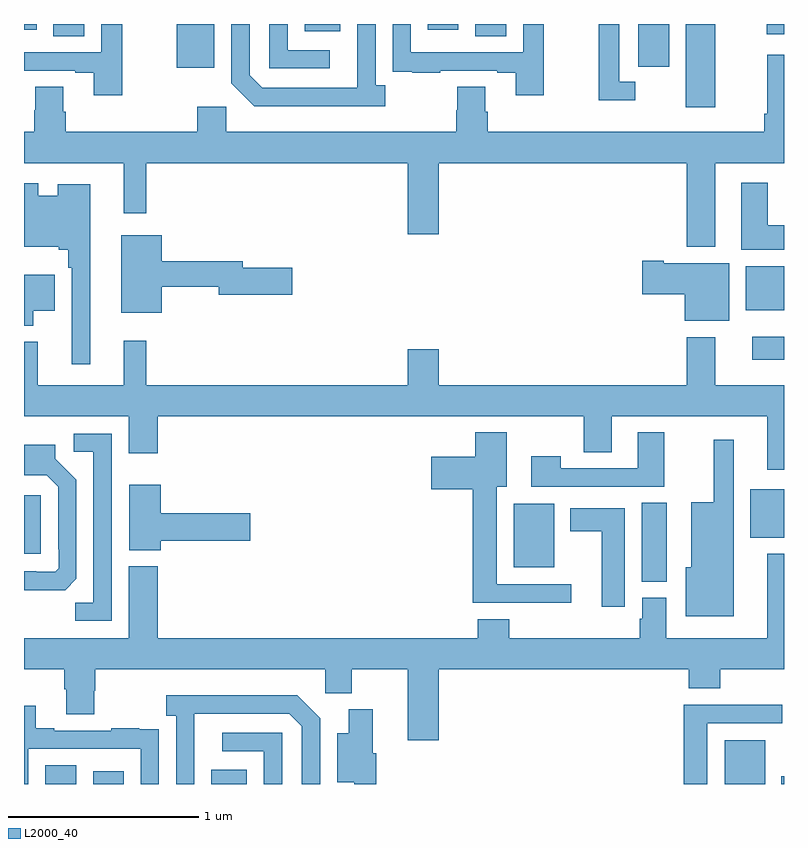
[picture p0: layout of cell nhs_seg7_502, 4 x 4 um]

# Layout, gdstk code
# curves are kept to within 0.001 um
import gdstk
lib = gdstk.Library(unit=1e-6, precision=1e-09)
def R(c, l, rs):  # rectangles x0, y0, x1, y1
    for r in rs: c.add(gdstk.rectangle(r[:2], r[2:], *l))
def P(c, l, *ps):  # polygons
    for p in ps: c.add(gdstk.Polygon(p, *l))
L2000_40 = (2000, 40)

nhs_seg7_502 = lib.new_cell('nhs_seg7_502')
R(nhs_seg7_502, L2000_40, [(151.112,1012,151.276,1012.1), (151.364,1012,151.525,1012.066), (151.985,1012,152.173,1012.075), (154.688,1012,154.9,1012.231), (154.985,1012,155,1012.042), (154.25,1013.065,154.384,1013.48), (153.578,1013.141,153.79,1013.476), (151,1013.211,151.089,1013.521), (154.823,1013.297,155,1013.551), (154.833,1014.233,155,1014.355), (154.799,1014.494,155,1014.724), (154.484,1015.563,154.639,1016), (151.803,1015.769,152.002,1016), (154.232,1015.776,154.396,1016), (151.154,1015.936,151.318,1016), (153.374,1015.936,153.538,1016), (154.91,1015.947,155,1016), (152.477,1015.961,152.665,1016), (151,1015.971,151.066,1016), (153.125,1015.971,153.286,1016)])
P(nhs_seg7_502, L2000_40, [(152.902,1015.678),(152.85,1015.678),(152.85,1016),(152.754,1016),(152.753,1015.665),(152.253,1015.665),(152.187,1015.731),(152.187,1016),(152.091,1016),(152.091,1015.689),(152.212,1015.568),(152.902,1015.568)],
  [(152.608,1015.863),(152.388,1015.863),(152.388,1016),(152.292,1016),(152.292,1015.767),(152.608,1015.767)],
  [(151.516,1016),(151.407,1016),(151.407,1015.851),(151,1015.851),(151,1015.755),(151.271,1015.755),(151.271,1015.743),(151.367,1015.743),(151.367,1015.626),(151.516,1015.626)],
  [(154.216,1015.695),(154.134,1015.695),(154.134,1016),(154.026,1016),(154.026,1015.598),(154.216,1015.598)],
  [(153.736,1016),(153.627,1016),(153.627,1015.851),(153.036,1015.851),(153.036,1016),(152.94,1016),(152.94,1015.858),(152.941,1015.858),(152.941,1015.749),(153.043,1015.749),(153.043,1015.743),(153.191,1015.743),(153.191,1015.755),(153.491,1015.755),(153.491,1015.743),(153.587,1015.743),(153.587,1015.626),(153.736,1015.626)],
  [(154.639,1015.268),(155,1015.268),(155,1015.837),(154.912,1015.837),(154.912,1015.528),(154.897,1015.528),(154.897,1015.432),(153.44,1015.432),(153.44,1015.538),(153.427,1015.538),(153.427,1015.67),(153.28,1015.67),(153.28,1015.545),(153.275,1015.545),(153.275,1015.432),(152.064,1015.432),(152.064,1015.564),(151.913,1015.564),(151.913,1015.432),(151.22,1015.432),(151.22,1015.538),(151.207,1015.538),(151.207,1015.67),(151.06,1015.67),(151.06,1015.545),(151.055,1015.545),(151.055,1015.432),(151,1015.432),(151,1015.268),(151.526,1015.268),(151.526,1015.005),(151.643,1015.005),(151.643,1015.268),(153.02,1015.268),(153.02,1014.894),(153.184,1014.894),(153.184,1015.268),(154.487,1015.268),(154.487,1014.827),(154.639,1014.827)],
  [(155,1014.94),(154.915,1014.94),(154.915,1015.165),(154.775,1015.165),(154.775,1014.812),(155,1014.812)],
  [(151.348,1015.156),(151.178,1015.156),(151.178,1015.096),(151.074,1015.096),(151.074,1015.162),(151,1015.162),(151,1014.827),(151.182,1014.827),(151.182,1014.812),(151.233,1014.812),(151.233,1014.716),(151.251,1014.716),(151.251,1014.21),(151.348,1014.21)],
  [(151.726,1014.616),(152.024,1014.616),(152.024,1014.574),(152.413,1014.574),(152.413,1014.716),(152.152,1014.716),(152.152,1014.752),(151.726,1014.752),(151.726,1014.889),(151.511,1014.889),(151.511,1014.479),(151.726,1014.479)],
  [(154.711,1014.742),(154.366,1014.742),(154.366,1014.755),(154.254,1014.755),(154.254,1014.577),(154.478,1014.577),(154.478,1014.437),(154.711,1014.437)],
  [(151.048,1014.491),(151.162,1014.491),(151.162,1014.679),(151,1014.679),(151,1014.413),(151.048,1014.413)],
  [(155,1014.1),(154.639,1014.1),(154.639,1014.352),(154.487,1014.352),(154.487,1014.1),(153.184,1014.1),(153.184,1014.289),(153.02,1014.289),(153.02,1014.1),(151.643,1014.1),(151.643,1014.334),(151.526,1014.334),(151.526,1014.1),(151.073,1014.1),(151.073,1014.328),(151,1014.328),(151,1013.936),(151.55,1013.936),(151.55,1013.742),(151.703,1013.742),(151.703,1013.936),(153.946,1013.936),(153.946,1013.746),(154.093,1013.746),(154.093,1013.936),(154.913,1013.936),(154.913,1013.655),(155,1013.655)],
  [(154.369,1013.851),(154.229,1013.851),(154.229,1013.661),(153.825,1013.661),(153.825,1013.725),(153.669,1013.725),(153.669,1013.565),(154.369,1013.565)],
  [(153.88,1013.052),(153.487,1013.052),(153.487,1013.564),(153.541,1013.564),(153.541,1013.851),(153.374,1013.851),(153.374,1013.722),(153.144,1013.722),(153.144,1013.552),(153.362,1013.552),(153.362,1012.955),(153.88,1012.955)],
  [(151.461,1013.844),(151.263,1013.844),(151.263,1013.748),(151.365,1013.748),(151.365,1012.955),(151.27,1012.955),(151.27,1012.86),(151.461,1012.86)],
  [(154.735,1013.812),(154.629,1013.812),(154.629,1013.482),(154.511,1013.482),(154.511,1013.142),(154.484,1013.142),(154.484,1012.883),(154.735,1012.883)],
  [(151.115,1013.021),(151.216,1013.021),(151.275,1013.08),(151.275,1013.602),(151.165,1013.712),(151.165,1013.785),(151,1013.785),(151,1013.625),(151.119,1013.625),(151.179,1013.565),(151.179,1013.236),(151.182,1013.236),(151.182,1013.136),(151.164,1013.118),(151.064,1013.118),(151.064,1013.121),(151,1013.121),(151,1013.02)],
  [(151.72,1013.279),(152.191,1013.279),(152.191,1013.426),(151.72,1013.426),(151.72,1013.575),(151.553,1013.575),(151.553,1013.231),(151.72,1013.231)],
  [(154.162,1013.452),(153.875,1013.452),(153.875,1013.33),(154.04,1013.33),(154.04,1012.932),(154.162,1012.932)],
  [(153.184,1012.604),(154.499,1012.604),(154.499,1012.505),(154.664,1012.505),(154.664,1012.604),(155,1012.604),(155,1013.212),(154.913,1013.212),(154.913,1012.768),(154.381,1012.768),(154.381,1012.98),(154.253,1012.98),(154.253,1012.869),(154.241,1012.869),(154.241,1012.768),(153.554,1012.768),(153.554,1012.867),(153.389,1012.867),(153.389,1012.768),(151.703,1012.768),(151.703,1013.146),(151.55,1013.146),(151.55,1012.768),(151,1012.768),(151,1012.604),(151.211,1012.604),(151.211,1012.498),(151.223,1012.498),(151.223,1012.366),(151.371,1012.366),(151.371,1012.491),(151.376,1012.491),(151.376,1012.604),(152.586,1012.604),(152.586,1012.478),(152.725,1012.478),(152.725,1012.604),(153.02,1012.604),(153.02,1012.23),(153.184,1012.23)],
  [(151.896,1012.171),(151.897,1012.371),(152.397,1012.371),(152.463,1012.305),(152.463,1012),(152.559,1012),(152.559,1012.347),(152.438,1012.468),(151.749,1012.468),(151.749,1012.358),(151.8,1012.358),(151.8,1012),(151.896,1012)],
  [(154.597,1012.32),(154.99,1012.32),(154.99,1012.418),(154.472,1012.418),(154.472,1012),(154.597,1012)],
  [(151.023,1012.185),(151.614,1012.185),(151.614,1012),(151.71,1012),(151.71,1012.178),(151.709,1012.178),(151.709,1012.287),(151.607,1012.287),(151.607,1012.294),(151.459,1012.294),(151.459,1012.281),(151.159,1012.281),(151.159,1012.294),(151.063,1012.294),(151.063,1012.411),(151,1012.411),(151,1012),(151.023,1012)],
  [(152.855,1012.163),(152.836,1012.163),(152.836,1012.393),(152.708,1012.393),(152.708,1012.267),(152.648,1012.267),(152.648,1012.01),(152.738,1012.01),(152.738,1012),(152.855,1012)],
  [(152.358,1012.269),(152.043,1012.269),(152.043,1012.173),(152.262,1012.173),(152.262,1012),(152.358,1012)])

lib.write_gds('nhs_seg7_502.gds')
